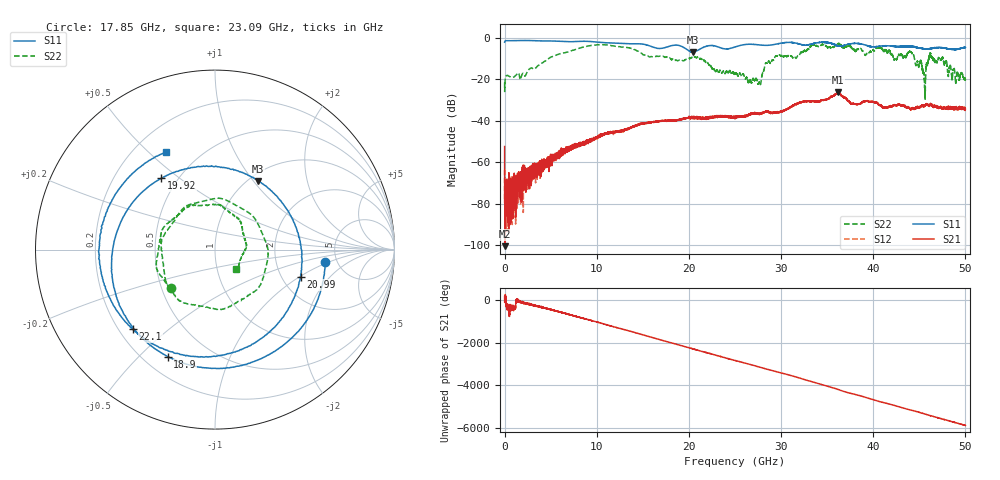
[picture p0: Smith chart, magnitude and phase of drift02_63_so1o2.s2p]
!Created with skrf (http://scikit-rf.org).
# Hz S RI R 50.0
!freq ReS11 ImS11 ReS21 ImS21 ReS12 ImS12 ReS22 ImS22
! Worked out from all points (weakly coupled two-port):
!   10001 points, 300 kHz to 50 GHz, reference 50 ohm
!   highest |S21| = -26.29 dB at 36.13 GHz (marker M1); lowest = -100.5 dB at 25.3 MHz (marker M2)
!   lowest |S11| = -6.9 dB at 20.41 GHz (marker M3), VSWR 2.64, Z = 55.3 + j52.9 ohm
!   |S11| at or under -10 dB: nowhere
!   |S22| runs from -30.1 to -2.7 dB; largest |S21 - S12| = 0.0051
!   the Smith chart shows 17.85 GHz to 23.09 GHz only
!   S11 on the Smith chart (normalised r, x): 17.85 GHz: 3.99, -0.92; 18.9 GHz: 0.30, -0.61; 19.92 GHz: 0.41, +0.43; 20.99 GHz: 2.53, -1.02; 22.1 GHz: 0.26, -0.38; 23.09 GHz: 0.33, +0.56
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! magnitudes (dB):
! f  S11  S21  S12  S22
! 300 kHz  -2.1  -52.5  -63.6  -21.6
! 25.3 MHz  -1.9  -100.5  -90.0  -23.4
! 265.3 MHz  -1.4  -78.3  -76.9  -18.2
! 8.335 GHz  -1.7  -50.8  -51.1  -4.7
! 16.67 GHz  -5.2  -40.2  -40.4  -9.0
! 17.85 GHz  -4.2  -40.0  -40.0  -9.7
! 18.9 GHz  -3.7  -39.5  -39.7  -10.9
! 19.92 GHz  -6.1  -38.7  -38.7  -9.9
! 20.41 GHz  -6.9  -38.0  -38.7  -9.8
! 20.99 GHz  -6.0  -38.8  -38.5  -9.3
! 22.1 GHz  -3.9  -38.8  -38.6  -12.5
! 23.09 GHz  -4.3  -38.4  -38.1  -15.9
! 25 GHz  -4.5  -38.4  -37.9  -17.6
! 27.63 GHz  -3.5  -36.7  -36.6  -21.5
! 29.54 GHz  -3.0  -35.8  -36.0  -8.8
! 33.34 GHz  -3.0  -30.6  -30.6  -3.8
! 36.13 GHz  -3.9  -26.3  -26.9  -3.2
! 41.67 GHz  -3.9  -33.2  -33.6  -6.3
! 44.12 GHz  -4.2  -34.6  -34.6  -7.0
! 45.5 GHz  -5.4  -32.8  -33.2  -16.8
! 47.33 GHz  -4.8  -33.2  -33.5  -10.9
! 50 GHz  -4.7  -34.3  -34.3  -20.0
